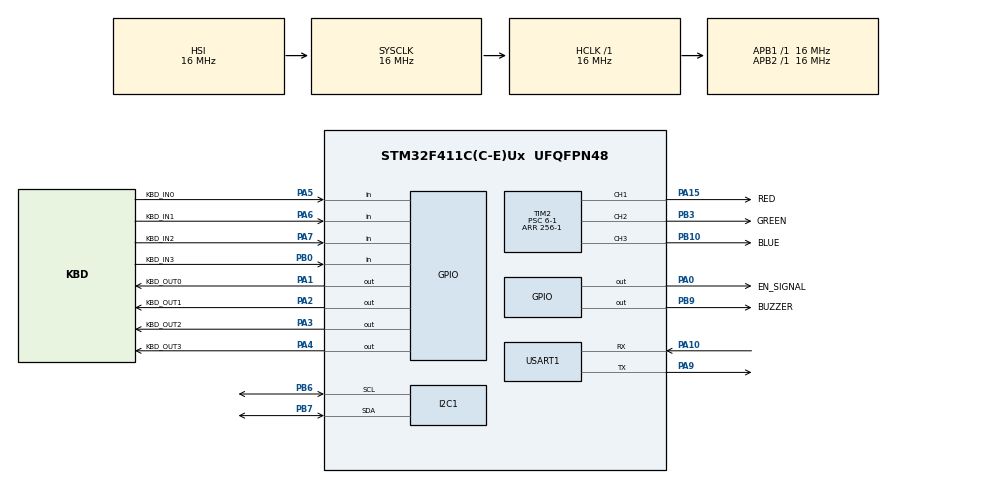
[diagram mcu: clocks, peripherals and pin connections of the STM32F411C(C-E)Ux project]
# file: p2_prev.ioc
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Mcu.Family=STM32F4
Mcu.Name=STM32F411C(C-E)Ux
Mcu.Package=UFQFPN48
NVIC.PriorityGroup=NVIC_PRIORITYGROUP_4
NVIC.TIM3_IRQn=true\:0\:0\:false\:false\:true\:true\:true\:true
PA0-WKUP.GPIO_Label=EN_SIGNAL
PA0-WKUP.Signal=GPIO_Output
PA1.GPIO_Label=KBD_OUT0
PA1.Signal=GPIO_Output
PA10.Mode=Asynchronous
PA10.Signal=USART1_RX
PA15.GPIO_Label=RED
PA15.Signal=S_TIM2_CH1_ETR
PA2.GPIO_Label=KBD_OUT1
PA2.Signal=GPIO_Output
PA3.GPIO_Label=KBD_OUT2
PA3.Signal=GPIO_Output
PA4.GPIO_Label=KBD_OUT3
PA4.Signal=GPIO_Output
PA5.GPIO_Label=KBD_IN0
PA5.GPIO_PuPd=GPIO_PULLDOWN
PA5.Signal=GPIO_Input
PA6.GPIO_Label=KBD_IN1
PA6.GPIO_PuPd=GPIO_PULLDOWN
PA6.Signal=GPIO_Input
PA7.GPIO_Label=KBD_IN2
PA7.GPIO_PuPd=GPIO_PULLDOWN
PA7.Signal=GPIO_Input
PA9.Mode=Asynchronous
PA9.Signal=USART1_TX
PB0.GPIO_Label=KBD_IN3
PB0.GPIO_PuPd=GPIO_PULLDOWN
PB0.Signal=GPIO_Input
PB10.GPIO_Label=BLUE
PB10.Signal=S_TIM2_CH3
PB3.GPIO_Label=GREEN
PB3.Signal=S_TIM2_CH2
PB6.Mode=I2C
PB6.Signal=I2C1_SCL
PB7.Mode=I2C
PB7.Signal=I2C1_SDA
PB9.GPIO_Label=BUZZER
PB9.Signal=GPIO_Output
PH0\ -\ OSC_IN.Mode=HSE-External-Oscillator
PH0\ -\ OSC_IN.Signal=RCC_OSC_IN
PH1\ -\ OSC_OUT.Mode=HSE-External-Oscillator
PH1\ -\ OSC_OUT.Signal=RCC_OSC_OUT
ProjectManager.HeapSize=0x200
ProjectManager.StackSize=0x400
ProjectManager.TargetToolchain=STM32CubeIDE
RCC.48MHZClocksFreq_Value=48000000
RCC.AHBFreq_Value=16000000
RCC.APB1Freq_Value=16000000
RCC.APB2Freq_Value=16000000
RCC.CortexFreq_Value=16000000
RCC.HSE_VALUE=25000000
RCC.HSI_VALUE=16000000
RCC.LSE_VALUE=32768
RCC.PLLM=15
RCC.PLLN=144
RCC.PLLQ=5
RCC.PLLSourceVirtual=RCC_PLLSOURCE_HSE
RCC.SYSCLKFreq_VALUE=16000000
RCC.VCOOutputFreq_Value=240000000
SH.S_TIM2_CH1_ETR.0=TIM2_CH1,PWM Generation1 CH1
SH.S_TIM2_CH2.0=TIM2_CH2,PWM Generation2 CH2
SH.S_TIM2_CH3.0=TIM2_CH3,PWM Generation3 CH3
TIM2.Channel-PWM\ Generation1\ CH1=TIM_CHANNEL_1
TIM2.Channel-PWM\ Generation2\ CH2=TIM_CHANNEL_2
TIM2.Channel-PWM\ Generation3\ CH3=TIM_CHANNEL_3
TIM2.Period=256-1
TIM2.Prescaler=6-1
TIM3.Period=1000
TIM3.Prescaler=2-1
USART1.VirtualMode=VM_ASYNC
VP_TIM2_VS_ClockSourceINT.Mode=Internal
VP_TIM3_VS_ClockSourceINT.Mode=Internal
board=custom

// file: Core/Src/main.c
/* USER CODE BEGIN Header */
/**
  ******************************************************************************
  * @file           : main.c
  * @brief          : Main program body
  ******************************************************************************
  * @attention
  *
  * Copyright (c) 2023 STMicroelectronics.
  * All rights reserved.
  *
  * This software is licensed under terms that can be found in the LICENSE file
  * in the root directory of this software component.
  * If no LICENSE file comes with this software, it is provided AS-IS.
  *
  ******************************************************************************
  */
/* USER CODE END Header */
#include "main.h"
#include "i2c.h"
#include "tim.h"
#include "usart.h"
#include "gpio.h"

/* USER CODE BEGIN Includes */
#include <string.h>
#include <stdio.h>
#include "rgb_pwm.h"
#include "at24c_xxx.h"
#include "xprintf.h"
#include "edx_xprintf.h"
/* USER CODE END Includes */

/* USER CODE BEGIN PM */
#define BUZZER_HANDLER 	&htim3
#define F_CPU 			16000000
#define PRESCALER		2
#define DEFAULT_VALUE_MEMORY 0xFFFFFFFF
/* USER CODE END PM */

/* USER CODE BEGIN PV */
rgb_color_t led_color;
at24_mem_addr_t at24_addr;
volatile uint32_t tim_counter;
uint8_t kbd, alarm_case;
char tx_buffer[200];
uint8_t kbd_keys[4][4] = {
		{'D', 'C', 'B', 'A'},
		{'#', '9', '6', '3'},
		{'0', '8', '5', '2'},
		{'*', '7', '4', '1'}
};

uint32_t password;
uint8_t mem_addr[5] = {0x00, 0x04, 0x08, 0x0C, 0x10};
uint32_t passwords[5];
int8_t i;
/* USER CODE END PV */

void SystemClock_Config(void);
/* USER CODE BEGIN PFP */
void write_nibble(uint8_t dato);
void tone(uint32_t freq, uint32_t time);
void kbd_get_print_key(uint8_t *kbd_key);
void show_menu(void);
void exit_case(uint8_t kbd);
void get_passwords(at24_mem_addr_t at24_addr, uint8_t *mem_addr, uint32_t *passwords);
void insert_password(uint8_t kbd, uint32_t *password);
void check_password(uint32_t password, uint32_t passwords[], rgb_color_t *led_color);
void show_passwords(uint8_t mem_addr[], uint32_t passwords[]);
void show_password_addr(uint8_t mem_addr);
void delete_password(uint8_t kbd, uint8_t mem_addr[], uint32_t passwords[]);
uint8_t password_exist(uint32_t password, uint32_t passwords[]);
int8_t position_empty(uint8_t mem_addr[], uint32_t passwords[], at24_mem_addr_t *at24_addr);
void save_password(uint32_t password, uint8_t mem_addr[], uint32_t passwords[], at24_mem_addr_t *at24_addr);
/* USER CODE END PFP */

int main(void)
{

  /* MCU Configuration--------------------------------------------------------*/

  /* Reset of all peripherals, Initializes the Flash interface and the Systick. */
  HAL_Init();

  /* Configure the system clock */
  SystemClock_Config();

  /* Initialize all configured peripherals */
  MX_GPIO_Init();
  MX_USART1_UART_Init();
  MX_TIM2_Init();
  MX_I2C1_Init();
  MX_TIM3_Init();

  /* Infinite loop */
  /* USER CODE BEGIN WHILE */
  xprintf_init();
  rgb_pwm_star();
  led_color.colors.red = 100;
  led_color.colors.green = 10;
  led_color.colors.blue = 10;
  rgb_pwm_update(&led_color);

  show_menu();

  get_passwords(at24_addr, mem_addr, passwords);

  while (1)
  {
	  kbd = 0;
	  while(!kbd){
		  kbd_get_print_key(&kbd);
		  HAL_Delay(20);
	  }

	  alarm_case = kbd;
	  switch(alarm_case){
		  case 'A': //Insertar password
			  xprintf("Comprobar password:\n\r");
			  insert_password(kbd, &password);
			  check_password(password, passwords, &led_color);
			  exit_case(kbd);
			  break;

		  case 'B': //Agregar password
			  xprintf("Guardar password:\n\r");
			  insert_password(kbd, &password);
			  save_password(password, mem_addr, passwords, &at24_addr);
			  exit_case(kbd);
			  break;

		  case 'C': //Borrar password
			  xprintf("Borrar password:\n\r");
			  show_passwords(mem_addr, passwords);
			  delete_password(kbd, mem_addr, passwords);
			  exit_case(kbd);
			  break;

		  case 'D': //Ver password
			  xprintf("Passwords guardadas:\n\r");
			  show_passwords(mem_addr, passwords);
			  exit_case(kbd);
			  break;

		  default:
			  break;
	  }

    /* USER CODE END WHILE */

  }
}

void SystemClock_Config(void)
{
  RCC_OscInitTypeDef RCC_OscInitStruct = {0};
  RCC_ClkInitTypeDef RCC_ClkInitStruct = {0};

  /** Configure the main internal regulator output voltage
  */
  __HAL_RCC_PWR_CLK_ENABLE();
  __HAL_PWR_VOLTAGESCALING_CONFIG(PWR_REGULATOR_VOLTAGE_SCALE1);

  /** Initializes the RCC Oscillators according to the specified parameters
  * in the RCC_OscInitTypeDef structure.
  */
  RCC_OscInitStruct.OscillatorType = RCC_OSCILLATORTYPE_HSI;
  RCC_OscInitStruct.HSIState = RCC_HSI_ON;
  RCC_OscInitStruct.HSICalibrationValue = RCC_HSICALIBRATION_DEFAULT;
  RCC_OscInitStruct.PLL.PLLState = RCC_PLL_NONE;
  if (HAL_RCC_OscConfig(&RCC_OscInitStruct) != HAL_OK)
  {
    Error_Handler();
  }

  /** Initializes the CPU, AHB and APB buses clocks
  */
  RCC_ClkInitStruct.ClockType = RCC_CLOCKTYPE_HCLK|RCC_CLOCKTYPE_SYSCLK
                              |RCC_CLOCKTYPE_PCLK1|RCC_CLOCKTYPE_PCLK2;
  RCC_ClkInitStruct.SYSCLKSource = RCC_SYSCLKSOURCE_HSI;
  RCC_ClkInitStruct.AHBCLKDivider = RCC_SYSCLK_DIV1;
  RCC_ClkInitStruct.APB1CLKDivider = RCC_HCLK_DIV1;
  RCC_ClkInitStruct.APB2CLKDivider = RCC_HCLK_DIV1;

  if (HAL_RCC_ClockConfig(&RCC_ClkInitStruct, FLASH_LATENCY_0) != HAL_OK)
  {
    Error_Handler();
  }
}

/* USER CODE BEGIN 4 */
void write_nibble(uint8_t dato){
	uint8_t bit0, bit1, bit2, bit3;

	bit0 = dato & 0b0001;  			// 1
	bit1 = (dato & 0b0010) >> 1; 	// 1
	bit2 = (dato & 0b0100) >> 2; 	// 0
	bit3 = (dato & 0b1000) >> 3; 	// 1

	HAL_GPIO_WritePin(KBD_OUT0_GPIO_Port, KBD_OUT0_Pin, (GPIO_PinState)(bit0));
	HAL_GPIO_WritePin(KBD_OUT1_GPIO_Port, KBD_OUT1_Pin, (GPIO_PinState)(bit1));
	HAL_GPIO_WritePin(KBD_OUT2_GPIO_Port, KBD_OUT2_Pin, (GPIO_PinState)(bit2));
	HAL_GPIO_WritePin(KBD_OUT3_GPIO_Port, KBD_OUT3_Pin, (GPIO_PinState)(bit3));
}

void kbd_get_print_key(uint8_t *kbd_key){
	uint8_t kbd_data = 0;

	for(uint8_t i = 0; i < 4; i++){
	  write_nibble(1 << i);
	  if(HAL_GPIO_ReadPin(KBD_IN0_GPIO_Port, KBD_IN0_Pin)){
		  while(HAL_GPIO_ReadPin(KBD_IN0_GPIO_Port, KBD_IN0_Pin));

		  kbd_data = kbd_keys[i][0];
		  xprintf("%c", kbd_data);
		  break;
	  }

	  else if(HAL_GPIO_ReadPin(KBD_IN1_GPIO_Port, KBD_IN1_Pin)){
		  while(HAL_GPIO_ReadPin(KBD_IN1_GPIO_Port, KBD_IN1_Pin));

		  kbd_data = kbd_keys[i][1];
		  xprintf("%c", kbd_data);
		  break;
	  }

	  else if(HAL_GPIO_ReadPin(KBD_IN2_GPIO_Port, KBD_IN2_Pin)){
		  while(HAL_GPIO_ReadPin(KBD_IN2_GPIO_Port, KBD_IN2_Pin));

		  kbd_data = kbd_keys[i][2];
		  xprintf("%c", kbd_data);
		  break;
	  }

	  else if(HAL_GPIO_ReadPin(KBD_IN3_GPIO_Port, KBD_IN3_Pin)){
		  while(HAL_GPIO_ReadPin(KBD_IN3_GPIO_Port, KBD_IN3_Pin));

		  kbd_data = kbd_keys[i][3];
		  xprintf("%c", kbd_data);
		  break;
	  }

	}

	*kbd_key = kbd_data;
}

void tone(uint32_t freq, uint32_t time){
	uint32_t arr_value = 0, aux1, aux2;

	aux1 = 2 * F_CPU;
	aux2 = PRESCALER * freq * 4;
	arr_value = (float) ((aux1) / (aux2));

	HAL_TIM_Base_Stop_IT(BUZZER_HANDLER);

	__HAL_TIM_SET_COUNTER(BUZZER_HANDLER, 0);
	__HAL_TIM_SET_AUTORELOAD(BUZZER_HANDLER, arr_value);
	HAL_TIM_Base_Start_IT(BUZZER_HANDLER);

	HAL_Delay(time);
	HAL_TIM_Base_Stop_IT(BUZZER_HANDLER);
}

void HAL_TIM_PeriodElapsedCallback(TIM_HandleTypeDef *htim){
	if(htim->Instance == TIM3){
		HAL_GPIO_TogglePin(BUZZER_GPIO_Port, BUZZER_Pin);
	}
}

void show_menu(void){
	xprint_clear();
	xprintf("Cerradura electronica\n\r\n\r\n\r");
	xprintf("A. Digitar password\n\r");
	xprintf("B. Agregar password\n\r");
	xprintf("C. Borrar password\n\r");
	xprintf("D. Ver lista de password\n\r");
}

void exit_case(uint8_t kbd){
	xprintf("\n\rPresione * para salir al menu principal:\n\r");
	kbd = 0;

	while(kbd != 42){
		kbd_get_print_key(&kbd);
		HAL_Delay(20);
	}
	show_menu();
}

void get_passwords(at24_mem_addr_t at24_addr, uint8_t *mem_addr, uint32_t *passwords){
	at24_addr.partition_addr.page_addr = 0x00;

	for(uint8_t i = 0; i < 5; i++){
		at24_addr.partition_addr.byte_addr = mem_addr[i];
		at24c_read_word(AT24C_ADDR, at24_addr.full_addr, &passwords[i]);
	}
}

void insert_password(uint8_t kbd, uint32_t *password){
	uint8_t i = 0;
	uint8_t input[4];
	kbd = 0;
	xprint_clear();
	xprintf("\n\rIngrese el valor del password:\n\r");

	while(i < 4) {
		kbd_get_print_key(&kbd);
		HAL_Delay(20);

		if (kbd != 0) {
			input[i] = kbd;
			i++;
		}
	}
	*password = ((input[0] << 24) & (0xFF<<24)) + ((input[1] << 16) & (0xFF<<16)) + ((input[2] << 8) & (0xFF<<8)) + (input[3] & 0xFF);
}

void check_password(uint32_t password, uint32_t passwords[], rgb_color_t *led_color) {
	if (password_exist(password, passwords) == 1) {
		led_color->colors.red = 105;
		led_color->colors.green = 235;
		led_color->colors.blue = 0;

		rgb_pwm_update(led_color);
		HAL_GPIO_WritePin(EN_SIGNAL_GPIO_Port, EN_SIGNAL_Pin, 0b0001);
		tone(4000, 1000);

		led_color->colors.red = 100;
		led_color->colors.green = 10;
		led_color->colors.blue = 10;

		rgb_pwm_update(led_color);
		HAL_GPIO_WritePin(EN_SIGNAL_GPIO_Port, EN_SIGNAL_Pin, 0b0000);

		xprintf("\n\rAcceso correcto\n\r");
	}
	else {
		xprintf("\n\rAcceso denegado\n\r");
	}
}

void show_passwords(uint8_t mem_addr[], uint32_t passwords[]){
	xprint_clear();
	xprintf("\n\r");

	for(uint8_t i = 0; i < 5; i++){
		if (passwords[i] != DEFAULT_VALUE_MEMORY) {
			uint8_t aux0 = (passwords[i] >> 24) & 0xFF;
			uint8_t aux1 = (passwords[i] >> 16) & 0xFF;
			uint8_t aux2 = (passwords[i] >> 8) & 0xFF;
			uint8_t aux3 = passwords[i] & 0xFF;
			xprintf("%d.- DIR: 0X00%02X \t Password: %c%c%c%c \n\r", (i+1), mem_addr[i], aux0, aux1, aux2, aux3);
		}
	}
}

void delete_password(uint8_t kbd, uint8_t mem_addr[], uint32_t passwords[]){
	at24_mem_addr_t at24_addr;
	at24c_status_t status;
	kbd = 0;
	xprintf("\n\rIngrese un valor disponible mostrado o presione * para cancelar:\n\r");

	while(!kbd){
		kbd_get_print_key(&kbd);
		HAL_Delay(20);
	}

	if(kbd == 42){
		return;
	}

	kbd -= '1';

	if (((kbd < 0)||(kbd > 4)) || (passwords[kbd] == DEFAULT_VALUE_MEMORY)) {
		xprintf("\n\rIngrese un valor disponible mostrado:\n\r");
		delete_password(kbd, mem_addr, passwords);
	}
	else{
		at24_addr.partition_addr.page_addr = 0x00;
		at24_addr.partition_addr.byte_addr = mem_addr[kbd];
		passwords[kbd] = DEFAULT_VALUE_MEMORY;
		status = at24c_write_word(AT24C_ADDR, at24_addr.full_addr, passwords[kbd]);

		(status == AT24_OPERATION_OK) ? xprintf("\n\rEl password fue borrado satisfactoriamente\n\r") :
				xprintf("\n\rError al borrar el password\n\r");
	}
}

uint8_t password_exist(uint32_t password, uint32_t passwords[]){
	for(uint8_t i = 0; i < 5; i++){
		if (passwords[i] == password) {
			return 1;
		}
	}
	return 0;
}

int8_t position_empty(uint8_t mem_addr[], uint32_t passwords[], at24_mem_addr_t *at24_addr){
	at24_addr->partition_addr.page_addr = 0x00;

	for(int8_t i = 0; i < 5; i++){
		at24_addr->partition_addr.byte_addr = mem_addr[i];
		if (passwords[i] == DEFAULT_VALUE_MEMORY) {
			return i;
		}
	}
	return -1;
}

void save_password(uint32_t password, uint8_t mem_addr[], uint32_t passwords[], at24_mem_addr_t *at24_addr){
	int8_t position;

	if (password_exist(password, passwords) == 1) {
		xprintf("\n\rEl password ya existe\n\r");
		return;
	}

	position = position_empty(mem_addr, passwords, at24_addr);
	if (position == -1) {
		xprintf("\n\rMemoria llena, no existe espacio para un password mas\n\r");
		return;
	}

	at24_addr->partition_addr.page_addr = 0x00;
	at24_addr->partition_addr.byte_addr = mem_addr[position];

	if (at24c_write_word(AT24C_ADDR, at24_addr->full_addr, password) == AT24_OPERATION_OK) {
		xprintf("\n\rPassword guardado correctamente\n\r");
		passwords[position] = password;
		xprintf("\n\rDireccion del password: 0x%04X \n\r", at24_addr->full_addr);
	}
	else {
		xprintf("\n\rError al guardar password\n\r");
	}
}

/* USER CODE END 4 */

void Error_Handler(void)
{
  __disable_irq();
  while (1)
  {
  }
}
